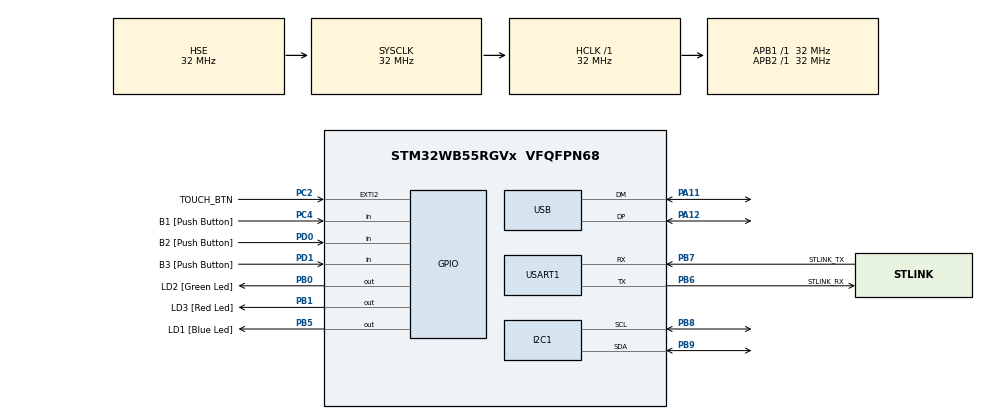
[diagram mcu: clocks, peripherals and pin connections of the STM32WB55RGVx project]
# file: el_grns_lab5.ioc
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Mcu.Family=STM32WB
RCC.CortexFreq_Value=32000000
RCC.SMPSCLockSelectionVirtualVirtual=RCC_SMPSCLKSOURCE_HSI
USART1.WordLength=WORDLENGTH_7B
PA14.GPIO_Label=JTCK
PD0.GPIO_Label=B2 [Push Button]
PA11.Mode=Device
PB0.GPIO_Label=LD2 [Green Led]
PB6.GPIO_Label=STLINK_RX
RCC.SYSCLKSource=RCC_SYSCLKSOURCE_HSE
ProjectManager.StackSize=0x400
PA12.Signal=USB_DP
RCC.HCLKFreq_Value=32000000
RCC.APB2TimFreq_Value=32000000
PB6.Signal=USART1_TX
PB6.Mode=Asynchronous
PD0.Signal=GPIO_Input
OSC_OUT.Mode=HSE-External-Oscillator
OSC_OUT.Signal=RCC_OSC_OUT
RCC.AHBFreq_Value=32000000
RCC.HSE_VALUE=32000000
PB3.Mode=Trace_Asynchronous_SW
PD1.GPIO_Label=B3 [Push Button]
PC14-OSC32_IN.Mode=LSE-External-Oscillator
PC4.GPIO_Label=B1 [Push Button]
PA14.Mode=Trace_Asynchronous_SW
PB1.GPIO_Label=LD3 [Red Led]
PB7.Signal=USART1_RX
VP_TIM1_VS_ClockSourceINT.Mode=Internal
RCC.APB3Freq_Value=16000000
PB7.GPIO_Label=STLINK_TX
PB9.Signal=I2C1_SDA
Mcu.Package=VFQFPN68
PB1.Signal=GPIO_Output
PB5.GPIO_Label=LD1 [Blue Led]
NVIC.EXTI2_IRQn=true\:0\:0\:false\:false\:true\:true\:true
RCC.APB1TimFreq_Value=32000000
RCC.SMPSDivider=1
PC2.GPIO_Label=TOUCH_BTN
RCC.HSI48_VALUE=48000000
RCC.PLLSAI1N=24
PB3.GPIO_Label=JTDO
PB7.GPIO_PuPd=GPIO_PULLUP
PC15-OSC32_OUT.Mode=LSE-External-Oscillator
PC13.Signal=SYS_WKUP2
PB6.GPIO_PuPd=GPIO_PULLUP
PC2.Signal=GPXTI2
PC4.Signal=GPIO_Input
PD1.Signal=GPIO_Input
PC14-OSC32_IN.Signal=RCC_OSC32_IN
USART1.VirtualMode-Asynchronous=VM_ASYNC
PA13.Signal=SYS_JTMS-SWDIO
ProjectManager.TargetToolchain=STM32CubeIDE
PB9.Mode=I2C
I2C1.Timing=0x00707CBB
OSC_IN.Signal=RCC_OSC_IN
RCC.USBFreq_Value=48000000
PC15-OSC32_OUT.Signal=RCC_OSC32_OUT
RCC.SMPSCLockSelectionVirtual=RCC_SMPSCLKSOURCE_HSI
board=NUCLEO-WB55RG
RCC.VCOOutputFreq_Value=128000000
RCC.APB2Freq_Value=32000000
RCC.ADCFreq_Value=48000000
PC2.GPIO_PuPd=GPIO_PULLDOWN
PA13.Mode=Trace_Asynchronous_SW
PC13.Mode=SYS_WakeUp1
Mcu.Name=STM32WB55RGVx
PA13.GPIO_Label=JTMS
PB3.Signal=SYS_JTDO-SWO
RCC.SYSCLKFreq_VALUE=32000000
PB5.Signal=GPIO_Output
PA12.Mode=Device
OSC_IN.Mode=HSE-External-Oscillator
PB7.Mode=Asynchronous
PA11.Signal=USB_DM
PA14.Signal=SYS_JTCK-SWCLK
ProjectManager.HeapSize=0x200
RCC.HSI_VALUE=16000000
NVIC.PriorityGroup=NVIC_PRIORITYGROUP_4
RCC.PLLN=32
PB8.Mode=I2C
PB8.Signal=I2C1_SCL
RCC.APB1Freq_Value=32000000
PB0.Signal=GPIO_Output

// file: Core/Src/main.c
/* USER CODE BEGIN Header */
/**
  ******************************************************************************
  * @file           : main.c
  * @brief          : Main program body
  ******************************************************************************
  * @attention
  *
  * <h2><center>&copy; Copyright (c) 2021 STMicroelectronics.
  * All rights reserved.</center></h2>
  *
  * This software component is licensed by ST under BSD 3-Clause license,
  * the "License"; You may not use this file except in compliance with the
  * License. You may obtain a copy of the License at:
  *                        opensource.org/licenses/BSD-3-Clause
  *
  ******************************************************************************
  */
/* USER CODE END Header */
#include "main.h"

/* USER CODE BEGIN Includes */
#include "lcd.h"
#include <string.h>
#include <stdio.h>
#include "ssd1306.h"
#include "mpu.h"
#include "math.h"

/* USER CODE END Includes */

/* USER CODE BEGIN PD */
#define NUMBER_OF_CALIBRATION_ITERATIONS 10
/* USER CODE END PD */

I2C_HandleTypeDef hi2c1;

TIM_HandleTypeDef htim1;

UART_HandleTypeDef huart1;

PCD_HandleTypeDef hpcd_USB_FS;

/* USER CODE BEGIN PV */

TextLCDType lcd;
MPU6050_Type mpu;

uint8_t Rec_Data[6];

int16_t Accel_X_RAW;
int16_t Accel_Y_RAW;
int16_t Accel_Z_RAW;

int16_t accelXValue;
int16_t accelYValue;
int16_t accelZValue;

HAL_StatusTypeDef ret;

uint8_t Data = 0;
uint8_t check = 0;

int16_t x_offset;
int16_t y_offset;
int16_t z_offset;

int calibrate = 1;

/* USER CODE END PV */

void SystemClock_Config(void);
static void MX_GPIO_Init(void);
static void MX_USART1_UART_Init(void);
static void MX_USB_PCD_Init(void);
static void MX_I2C1_Init(void);
static void MX_TIM1_Init(void);

/* USER CODE BEGIN 0 */

void checkLevel(){

	HAL_Delay(MPU_UPDATE_FREQ); // 5 Hz update frequency.

	ret = MPU6050_ReadRegisters(&mpu, ACCEL_XOUT_H, 6);
	if(ret != HAL_OK)
		LCD_Debug("Read error:", "ACCEL_XOUT_H");

	Accel_X_RAW = (int16_t)(mpu.data[0] << 8 | mpu.data[1]); // Combine both registers into one value.
	Accel_Y_RAW = (int16_t)(mpu.data[2] << 8 | mpu.data[3]);
	Accel_Z_RAW = (int16_t)(mpu.data[4] << 8 | mpu.data[5]);

	accelXValue = Accel_X_RAW / x_offset; // Divide by the value from the calibration.
	accelYValue = Accel_Y_RAW / y_offset;
	accelZValue = Accel_Z_RAW / z_offset;

//	if(accelXValue > 0x8000){ // 2's complement.
//		accelXValue |= 0xF000;
//	}
//	if(accelYValue > 0x8000){ // 2's complement. 0x7FF
//		accelYValue |= 0xF000;
//	}
//	if(accelZValue > 0x8000){ // 2's complement.
//		accelZValue |= 0xF000;
//	}
}

void displayResultsOLED(int16_t x_val, int16_t y_val, int16_t z_val){ // Displays the calibrated values as integers.

	char strX[10];
	char strY[10];
	char strZ[10];

	sprintf(strX, "%d", x_val);// / x_offset_calibrated));
	sprintf(strY, "%d", y_val);// / y_offset_calibrated));
	sprintf(strZ, "%d", z_val);// / z_offset_calibrated));

	ssd1306_SetDisplayOn(1);
	ssd1306_Fill(Black);
	ssd1306_SetCursor(0, 0);
	ssd1306_WriteString("Accel X:", Font_6x8, White);
	ssd1306_SetCursor(0, 9);
	ssd1306_WriteString(strX, Font_6x8, White);
	ssd1306_SetCursor(0, 18);
	ssd1306_WriteString("Accel Y:", Font_6x8, White);
	ssd1306_SetCursor(0, 27);
	ssd1306_WriteString(strY, Font_6x8, White);
	ssd1306_SetCursor(0, 36);
	ssd1306_WriteString("Accel Z:", Font_6x8, White);
	ssd1306_SetCursor(0, 45);
	ssd1306_WriteString(strZ, Font_6x8, White);
	ssd1306_SetCursor(0, 54);
	ssd1306_UpdateScreen();
}

void displayLevel(int16_t axis_level){ // Displays the values as a "bubble".

	int16_t tiltValue = (35 - axis_level); // Center the "bubble"

	ssd1306_SetDisplayOn(1);
	ssd1306_Fill(Black);

	for(int i = 0; i < 70; i++){ // Display some lines to indicate tilt.
		if(i % 5 == 0){
			ssd1306_SetCursor(i, 34);
			ssd1306_WriteString("|", Font_7x10, White);
		}
	}

	ssd1306_SetCursor(tiltValue, 24); // Set the "bubble".
	ssd1306_WriteString("O", Font_7x10, White);

	if(axis_level > 20 || axis_level < -20) // Just to indicate a silly angle...
		drawGarfield();
	else ssd1306_UpdateScreen();
}

float resultInDegrees(int16_t z_axis, int16_t comparative_axis){

	return (atan2(comparative_axis, z_axis) / 57.2957795);
}

void calibrateMPU(MPU6050_Type mpu6050){

	// Arrays holding the different measurements:
	int16_t x_values[NUMBER_OF_CALIBRATION_ITERATIONS];
	int16_t y_values[NUMBER_OF_CALIBRATION_ITERATIONS];
	int16_t z_values[NUMBER_OF_CALIBRATION_ITERATIONS];

	// All measurements added together:
	int16_t x_calibration;
	int16_t y_calibration;
	int16_t z_calibration;

	// Fill with samples:
	for(int i = 0; i < NUMBER_OF_CALIBRATION_ITERATIONS; i++){
		x_values[i] = Accel_X_RAW;
		y_values[i] = Accel_Y_RAW;
		z_values[i] = Accel_Z_RAW;
	}
	for(int i = 0; i < NUMBER_OF_CALIBRATION_ITERATIONS; i++){
		x_calibration += x_values[i];
		y_calibration += y_values[i];
		z_calibration += z_values[i];
	}

	// Perform the calibration, divide to find the mean value.
	x_offset = x_calibration / NUMBER_OF_CALIBRATION_ITERATIONS;
	y_offset = y_calibration / NUMBER_OF_CALIBRATION_ITERATIONS;
	z_offset = z_calibration / NUMBER_OF_CALIBRATION_ITERATIONS;

	// To preserve the sanctity of the universe, we ensure we do not divide by zero.
	if(x_offset == 0)
		x_offset = 1;
	if(y_offset == 0)
		y_offset = 1;
	if(z_offset == 0)
		z_offset = 1;

	// Let the user know that the device is being calibrated.
	ssd1306_SetDisplayOn(1);
	ssd1306_Fill(Black);
	ssd1306_SetCursor(0, 0);
	ssd1306_WriteString("Calibrating...", Font_7x10, White);
	ssd1306_UpdateScreen();
	HAL_Delay(500); // A small delay so the user has time to read the text.
}

void HAL_GPIO_EXTI_Callback(uint16_t GPIO_Pin){

	if(GPIO_Pin == TOUCH_BTN_Pin)
		calibrate = 1;
}
/* USER CODE END 0 */

int main(void)
{

  /* MCU Configuration--------------------------------------------------------*/

  /* Reset of all peripherals, Initializes the Flash interface and the Systick. */
  HAL_Init();

  /* Configure the system clock */
  SystemClock_Config();

  /* Initialize all configured peripherals */
  MX_GPIO_Init();
  MX_USART1_UART_Init();
  MX_USB_PCD_Init();
  MX_I2C1_Init();
  MX_TIM1_Init();
  /* USER CODE BEGIN 2 */
  TextLCD_Init(&lcd, &hi2c1, 0x4E); // "startar" LCD
  MPU6050_Init(&mpu, &hi2c1); // Setup the mpu sensor.
  ssd1306_Init(); // OLED Init.

  float deg;
  char* str;
  /* USER CODE END 2 */

  /* Infinite loop */
  /* USER CODE BEGIN WHILE */
  while (1)
  {
	  while(calibrate == 1){ // Check calibration flag.
		  calibrateMPU(mpu); // Calibrate if necessary.
		  calibrate = 0; // Reset the flag.
	  }
	  checkLevel(); // Take in readings from the MPU, reads x, y and z axis and combines
//	  displayResultsOLED(accelXValue, accelYValue, accelZValue); // Displays the results as integers.
	  displayLevel(accelYValue); // Displays the result in a spirit level like fashion.
    /* USER CODE END WHILE */

  }
}

void SystemClock_Config(void)
{
  RCC_OscInitTypeDef RCC_OscInitStruct = {0};
  RCC_ClkInitTypeDef RCC_ClkInitStruct = {0};
  RCC_PeriphCLKInitTypeDef PeriphClkInitStruct = {0};

  /** Macro to configure the PLL multiplication factor
  */
  __HAL_RCC_PLL_PLLM_CONFIG(RCC_PLLM_DIV1);
  /** Macro to configure the PLL clock source
  */
  __HAL_RCC_PLL_PLLSOURCE_CONFIG(RCC_PLLSOURCE_MSI);
  /** Configure LSE Drive Capability
  */
  HAL_PWR_EnableBkUpAccess();
  __HAL_RCC_LSEDRIVE_CONFIG(RCC_LSEDRIVE_LOW);
  /** Configure the main internal regulator output voltage
  */
  __HAL_PWR_VOLTAGESCALING_CONFIG(PWR_REGULATOR_VOLTAGE_SCALE1);
  /** Initializes the RCC Oscillators according to the specified parameters
  * in the RCC_OscInitTypeDef structure.
  */
  RCC_OscInitStruct.OscillatorType = RCC_OSCILLATORTYPE_HSI|RCC_OSCILLATORTYPE_HSE
                              |RCC_OSCILLATORTYPE_LSE|RCC_OSCILLATORTYPE_MSI;
  RCC_OscInitStruct.HSEState = RCC_HSE_ON;
  RCC_OscInitStruct.LSEState = RCC_LSE_ON;
  RCC_OscInitStruct.HSIState = RCC_HSI_ON;
  RCC_OscInitStruct.MSIState = RCC_MSI_ON;
  RCC_OscInitStruct.HSICalibrationValue = RCC_HSICALIBRATION_DEFAULT;
  RCC_OscInitStruct.MSICalibrationValue = RCC_MSICALIBRATION_DEFAULT;
  RCC_OscInitStruct.MSIClockRange = RCC_MSIRANGE_6;
  RCC_OscInitStruct.PLL.PLLState = RCC_PLL_NONE;
  if (HAL_RCC_OscConfig(&RCC_OscInitStruct) != HAL_OK)
  {
    Error_Handler();
  }
  /** Configure the SYSCLKSource, HCLK, PCLK1 and PCLK2 clocks dividers
  */
  RCC_ClkInitStruct.ClockType = RCC_CLOCKTYPE_HCLK4|RCC_CLOCKTYPE_HCLK2
                              |RCC_CLOCKTYPE_HCLK|RCC_CLOCKTYPE_SYSCLK
                              |RCC_CLOCKTYPE_PCLK1|RCC_CLOCKTYPE_PCLK2;
  RCC_ClkInitStruct.SYSCLKSource = RCC_SYSCLKSOURCE_HSE;
  RCC_ClkInitStruct.AHBCLKDivider = RCC_SYSCLK_DIV1;
  RCC_ClkInitStruct.APB1CLKDivider = RCC_HCLK_DIV1;
  RCC_ClkInitStruct.APB2CLKDivider = RCC_HCLK_DIV1;
  RCC_ClkInitStruct.AHBCLK2Divider = RCC_SYSCLK_DIV1;
  RCC_ClkInitStruct.AHBCLK4Divider = RCC_SYSCLK_DIV1;

  if (HAL_RCC_ClockConfig(&RCC_ClkInitStruct, FLASH_LATENCY_1) != HAL_OK)
  {
    Error_Handler();
  }
  /** Initializes the peripherals clocks
  */
  PeriphClkInitStruct.PeriphClockSelection = RCC_PERIPHCLK_SMPS|RCC_PERIPHCLK_USART1
                              |RCC_PERIPHCLK_I2C1|RCC_PERIPHCLK_USB;
  PeriphClkInitStruct.PLLSAI1.PLLN = 24;
  PeriphClkInitStruct.PLLSAI1.PLLP = RCC_PLLP_DIV2;
  PeriphClkInitStruct.PLLSAI1.PLLQ = RCC_PLLQ_DIV2;
  PeriphClkInitStruct.PLLSAI1.PLLR = RCC_PLLR_DIV2;
  PeriphClkInitStruct.PLLSAI1.PLLSAI1ClockOut = RCC_PLLSAI1_USBCLK;
  PeriphClkInitStruct.Usart1ClockSelection = RCC_USART1CLKSOURCE_PCLK2;
  PeriphClkInitStruct.I2c1ClockSelection = RCC_I2C1CLKSOURCE_PCLK1;
  PeriphClkInitStruct.UsbClockSelection = RCC_USBCLKSOURCE_PLLSAI1;
  PeriphClkInitStruct.SmpsClockSelection = RCC_SMPSCLKSOURCE_HSI;
  PeriphClkInitStruct.SmpsDivSelection = RCC_SMPSCLKDIV_RANGE0;
  if (HAL_RCCEx_PeriphCLKConfig(&PeriphClkInitStruct) != HAL_OK)
  {
    Error_Handler();
  }
  /** Enable MSI Auto calibration
  */
  HAL_RCCEx_EnableMSIPLLMode();
}

static void MX_I2C1_Init(void)
{

  hi2c1.Instance = I2C1;
  hi2c1.Init.Timing = 0x00707CBB;
  hi2c1.Init.OwnAddress1 = 0;
  hi2c1.Init.AddressingMode = I2C_ADDRESSINGMODE_7BIT;
  hi2c1.Init.DualAddressMode = I2C_DUALADDRESS_DISABLE;
  hi2c1.Init.OwnAddress2 = 0;
  hi2c1.Init.OwnAddress2Masks = I2C_OA2_NOMASK;
  hi2c1.Init.GeneralCallMode = I2C_GENERALCALL_DISABLE;
  hi2c1.Init.NoStretchMode = I2C_NOSTRETCH_DISABLE;
  if (HAL_I2C_Init(&hi2c1) != HAL_OK)
  {
    Error_Handler();
  }
  /** Configure Analogue filter
  */
  if (HAL_I2CEx_ConfigAnalogFilter(&hi2c1, I2C_ANALOGFILTER_ENABLE) != HAL_OK)
  {
    Error_Handler();
  }
  /** Configure Digital filter
  */
  if (HAL_I2CEx_ConfigDigitalFilter(&hi2c1, 0) != HAL_OK)
  {
    Error_Handler();
  }

}

static void MX_TIM1_Init(void)
{

  TIM_ClockConfigTypeDef sClockSourceConfig = {0};
  TIM_MasterConfigTypeDef sMasterConfig = {0};

  htim1.Instance = TIM1;
  htim1.Init.Prescaler = 0;
  htim1.Init.CounterMode = TIM_COUNTERMODE_UP;
  htim1.Init.Period = 65535;
  htim1.Init.ClockDivision = TIM_CLOCKDIVISION_DIV1;
  htim1.Init.RepetitionCounter = 0;
  htim1.Init.AutoReloadPreload = TIM_AUTORELOAD_PRELOAD_DISABLE;
  if (HAL_TIM_Base_Init(&htim1) != HAL_OK)
  {
    Error_Handler();
  }
  sClockSourceConfig.ClockSource = TIM_CLOCKSOURCE_INTERNAL;
  if (HAL_TIM_ConfigClockSource(&htim1, &sClockSourceConfig) != HAL_OK)
  {
    Error_Handler();
  }
  sMasterConfig.MasterOutputTrigger = TIM_TRGO_RESET;
  sMasterConfig.MasterOutputTrigger2 = TIM_TRGO2_RESET;
  sMasterConfig.MasterSlaveMode = TIM_MASTERSLAVEMODE_DISABLE;
  if (HAL_TIMEx_MasterConfigSynchronization(&htim1, &sMasterConfig) != HAL_OK)
  {
    Error_Handler();
  }

}

static void MX_USART1_UART_Init(void)
{

  huart1.Instance = USART1;
  huart1.Init.BaudRate = 115200;
  huart1.Init.WordLength = UART_WORDLENGTH_7B;
  huart1.Init.StopBits = UART_STOPBITS_1;
  huart1.Init.Parity = UART_PARITY_NONE;
  huart1.Init.Mode = UART_MODE_TX_RX;
  huart1.Init.HwFlowCtl = UART_HWCONTROL_NONE;
  huart1.Init.OverSampling = UART_OVERSAMPLING_16;
  huart1.Init.OneBitSampling = UART_ONE_BIT_SAMPLE_DISABLE;
  huart1.Init.ClockPrescaler = UART_PRESCALER_DIV1;
  huart1.AdvancedInit.AdvFeatureInit = UART_ADVFEATURE_NO_INIT;
  if (HAL_UART_Init(&huart1) != HAL_OK)
  {
    Error_Handler();
  }
  if (HAL_UARTEx_SetTxFifoThreshold(&huart1, UART_TXFIFO_THRESHOLD_1_8) != HAL_OK)
  {
    Error_Handler();
  }
  if (HAL_UARTEx_SetRxFifoThreshold(&huart1, UART_RXFIFO_THRESHOLD_1_8) != HAL_OK)
  {
    Error_Handler();
  }
  if (HAL_UARTEx_DisableFifoMode(&huart1) != HAL_OK)
  {
    Error_Handler();
  }

}

static void MX_USB_PCD_Init(void)
{

  hpcd_USB_FS.Instance = USB;
  hpcd_USB_FS.Init.dev_endpoints = 8;
  hpcd_USB_FS.Init.speed = PCD_SPEED_FULL;
  hpcd_USB_FS.Init.phy_itface = PCD_PHY_EMBEDDED;
  hpcd_USB_FS.Init.Sof_enable = DISABLE;
  hpcd_USB_FS.Init.low_power_enable = DISABLE;
  hpcd_USB_FS.Init.lpm_enable = DISABLE;
  hpcd_USB_FS.Init.battery_charging_enable = DISABLE;
  if (HAL_PCD_Init(&hpcd_USB_FS) != HAL_OK)
  {
    Error_Handler();
  }

}

static void MX_GPIO_Init(void)
{
  GPIO_InitTypeDef GPIO_InitStruct = {0};

  /* GPIO Ports Clock Enable */
  __HAL_RCC_GPIOC_CLK_ENABLE();
  __HAL_RCC_GPIOB_CLK_ENABLE();
  __HAL_RCC_GPIOA_CLK_ENABLE();
  __HAL_RCC_GPIOD_CLK_ENABLE();

  /*Configure GPIO pin Output Level */
  HAL_GPIO_WritePin(GPIOB, LD2_Pin|LD3_Pin|LD1_Pin, GPIO_PIN_RESET);

  /*Configure GPIO pin : TOUCH_BTN_Pin */
  GPIO_InitStruct.Pin = TOUCH_BTN_Pin;
  GPIO_InitStruct.Mode = GPIO_MODE_IT_RISING;
  GPIO_InitStruct.Pull = GPIO_PULLDOWN;
  HAL_GPIO_Init(TOUCH_BTN_GPIO_Port, &GPIO_InitStruct);

  /*Configure GPIO pin : B1_Pin */
  GPIO_InitStruct.Pin = B1_Pin;
  GPIO_InitStruct.Mode = GPIO_MODE_INPUT;
  GPIO_InitStruct.Pull = GPIO_NOPULL;
  HAL_GPIO_Init(B1_GPIO_Port, &GPIO_InitStruct);

  /*Configure GPIO pins : LD2_Pin LD3_Pin LD1_Pin */
  GPIO_InitStruct.Pin = LD2_Pin|LD3_Pin|LD1_Pin;
  GPIO_InitStruct.Mode = GPIO_MODE_OUTPUT_PP;
  GPIO_InitStruct.Pull = GPIO_NOPULL;
  GPIO_InitStruct.Speed = GPIO_SPEED_FREQ_LOW;
  HAL_GPIO_Init(GPIOB, &GPIO_InitStruct);

  /*Configure GPIO pins : B2_Pin B3_Pin */
  GPIO_InitStruct.Pin = B2_Pin|B3_Pin;
  GPIO_InitStruct.Mode = GPIO_MODE_INPUT;
  GPIO_InitStruct.Pull = GPIO_NOPULL;
  HAL_GPIO_Init(GPIOD, &GPIO_InitStruct);

  /* EXTI interrupt init*/
  HAL_NVIC_SetPriority(EXTI2_IRQn, 0, 0);
  HAL_NVIC_EnableIRQ(EXTI2_IRQn);

}

void Error_Handler(void)
{
  __disable_irq();
  while (1)
  {
  }
}

/************************ (C) COPYRIGHT STMicroelectronics *****END OF FILE****/
